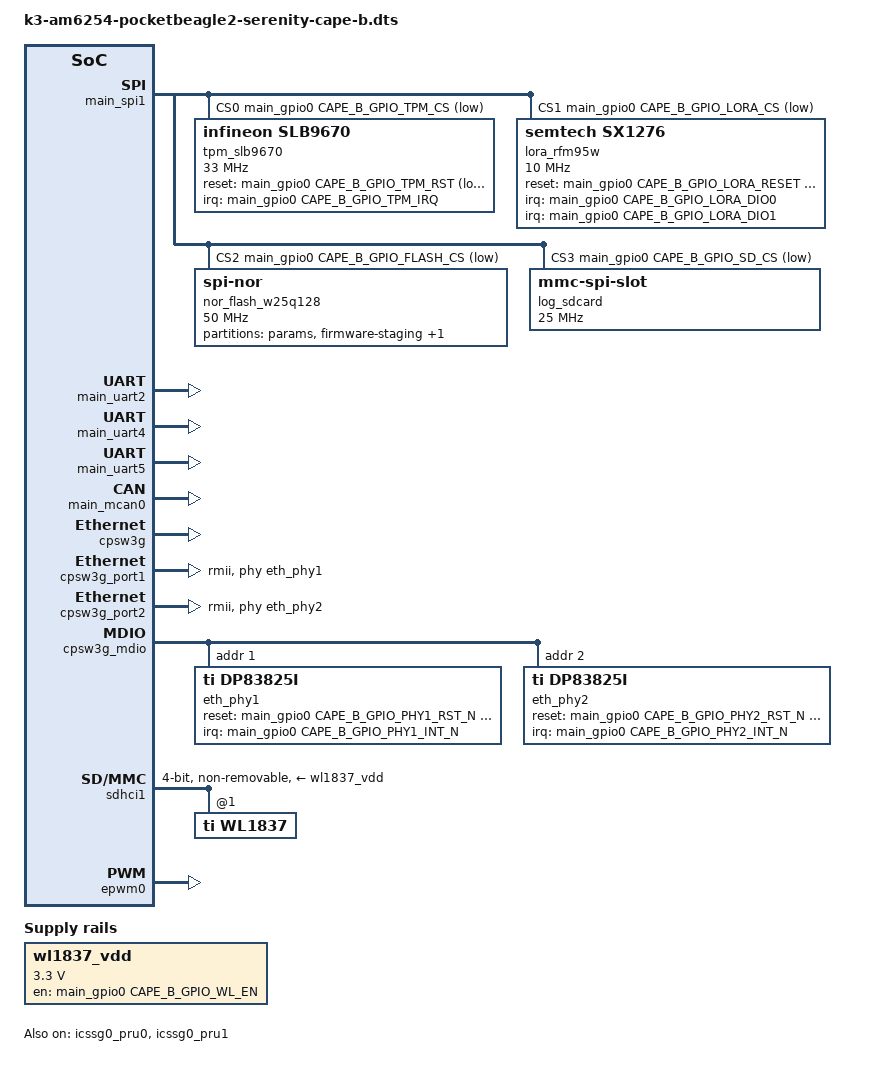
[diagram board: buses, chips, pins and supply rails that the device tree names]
// SPDX-License-Identifier: CC-BY-4.0
/*
 * k3-am6254-pocketbeagle2-serenity-cape-b.dts
 * Device tree overlay — Serenity UAV Cape-B (Comms, Logging & Payload)
 *
 * Author:  Steve Griffing, PE(CSE), CISSP-ISSEP, CPP
 * License: CC BY 4.0 — creativecommons.org/licenses/by/4.0
 *
 * Target:
 *   Board  : PocketBeagle 2 Industrial (DigiKey 2820-100003007-ND)
 *   SoC    : TI AM6254 (quad Cortex-A53 @ 1.4 GHz, dual PRU-ICSS)
 *   OS     : BeagleBone Debian Trixie (Linux ≥ 6.1, dtc 1.7.x)
 *   Cape   : Cape-B — comms + logging + payload, plugs onto P1/P2 headers
 *
 * Build:
 *   dtc -@ -I dts -O dtb \
 *       -o k3-am6254-pocketbeagle2-serenity-cape-b.dtbo \
 *       k3-am6254-pocketbeagle2-serenity-cape-b.dts
 *
 * Install:
 *   sudo cp *.dtbo /boot/firmware/overlays/
 *   Add "fdtoverlays /overlays/k3-am6254-pocketbeagle2-serenity-cape-b.dtbo"
 *   to /boot/firmware/extlinux/extlinux.conf
 *
 * ═══════════════════════════════════════════════════════════════════════════
 * PAD OFFSET VERIFICATION NOTICE
 * ═══════════════════════════════════════════════════════════════════════════
 * AM62X_IOPAD offsets must be cross-checked against BOTH:
 *   (1) TI AM6254 Technical Reference Manual, SPRUJ40, Table 7-1
 *       "MAIN Domain Pad Control Registers"
 *   (2) PocketBeagle 2 Industrial schematic — BeagleBoard.org hardware repo
 *       (maps AM6254 balls to P1/P2 header pins)
 * Offsets tagged [CONFIRMED] are from k3-am625-sk.dtsi, Linux 6.x kernel.
 * Offsets tagged [ESTIMATE] follow the AM62x pad-table pattern and must be
 * verified before committing to PCB fab or first-flight operations.
 * GPIO line numbers (main_gpio0 / main_gpio1) are logical and must be
 * verified against the PocketBeagle 2 expansion header pin map.
 * ═══════════════════════════════════════════════════════════════════════════
 *
 * Cape-B peripheral map:
 *   SPI1      — SLB9670 TPM 2.0, RFM95W LoRa 915 MHz, W25Q128JV NOR flash,
 *               microSD (SPI mode, logging-only non-executable card)
 *   UART2     — RFD900x SiK 915 MHz (hardware CTS/RTS flow control)
 *   UART4     — MAX3485E RS-485 half-duplex (DE / RE# GPIOs)
 *   UART5     — XCVR-49MHZ-1 RCRS 49 MHz AX.25 (PTT_N + TDDS_SYNC GPIOs)
 *   MCAN0     — CAN FD 1/8 Mbps via ATA6561 transceiver (STB# GPIO)
 *   CPSW3G    — 100BASE-TX ring via 2× DP83825I RMII PHY
 *   SDIO      — WL1837MOD 5 GHz 802.11ac/b/g/n + BT5 (4-bit MMC)
 *   EHRPWM0   — Cargo servo / gimbal axis (2 channels)
 *   PRU-ICSS0/PRU0 — MIL-STD-1553B Manchester II codec (1 Mbps)
 *   PRU-ICSS0/PRU1 — Cargo servo PWM ch 2-3 + XCVR TDDS timing
 *
 * External comms links on this node:
 *   Link A: AX.25 49 MHz RCRS    (XCVR-49MHZ-1, UART5, PTT_N, TDDS_SYNC)
 *   Link B: SiK MAVLink 915 MHz  (RFD900x, UART2, CTS/RTS)
 *   Link C: LoRa 915 MHz (OOB)   (RFM95W, SPI1, DIO0-DIO3 IRQs)
 *   Link D: 5 GHz 802.11ac       (WL1837MOD, SDIO)
 *
 * All transmitted frames carry a TPM-bound SHA-256 HMAC (SLB9670, SPI1).
 * The ATF16V8BQL CPLD provides hardware-enforced write-protect to the
 * logging microSD and latching logic for latch sensors.
 *
 * References:
 *   [1] TI AM6254 TRM, SPRUJ40 — pad table, PRU-ICSS, CPSW3G, MCAN
 *   [2] PocketBeagle 2 Industrial schematic, BeagleBoard.org hardware repo
 *   [3] Chepponis & Karn, KISS TNC, ARRL 6th CNF 1987 (AX.25 link)
 *   [4] 47 CFR Part 95 Subpart D (RCRS 49 MHz channel plan)
 *   [5] 47 CFR Part 15 Subpart C (LoRa 915 MHz, unlicensed)
 *   [6] Si5351A/B/C-B Datasheet, Skyworks, Rev 1.4
 *   [7] Infineon SLB9670 TPM 2.0 Datasheet
 *   [8] WL1837MOD (TI WL1837) Integration Guide
 *   [9] MIL-STD-1553B, DoD Interface Standard, 21 Sep 1978
 */

/dts-v1/;
/plugin/;

#include <dt-bindings/gpio/gpio.h>
#include <dt-bindings/interrupt-controller/irq.h>
#include <dt-bindings/pinctrl/k3.h>

/* ───────────────────────────────────────────────────────────────────────────
 * GPIO line assignments on main_gpio0 — VERIFY AGAINST PB2 SCHEMATIC
 * All offsets relative to AM6254 GPIO bank 0 as exposed on P1/P2 headers.
 * ─────────────────────────────────────────────────────────────────────────*/

/* SPI1 chip-selects (GPIO-driven; SPI1 nCS lines not used in hardware). */
#define CAPE_B_GPIO_TPM_CS          10  /* SPI1 CS — SLB9670 TPM 2.0        [ESTIMATE] */
#define CAPE_B_GPIO_LORA_CS         11  /* SPI1 CS — RFM95W LoRa            [ESTIMATE] */
#define CAPE_B_GPIO_FLASH_CS        12  /* SPI1 CS — W25Q128JV NOR flash     [ESTIMATE] */
#define CAPE_B_GPIO_SD_CS           13  /* SPI1 CS — logging microSD         [ESTIMATE] */

/* SLB9670 TPM 2.0 control lines. */
#define CAPE_B_GPIO_TPM_IRQ         14  /* SLB9670 interrupt (active-low)    [ESTIMATE] */
#define CAPE_B_GPIO_TPM_RST         15  /* SLB9670 reset (active-low)        [ESTIMATE] */

/* RFM95W LoRa DIO interrupt lines (DIO0 = TX done / RX done). */
#define CAPE_B_GPIO_LORA_DIO0       16  /* RFM95W DIO0 — TX/RX done         [ESTIMATE] */
#define CAPE_B_GPIO_LORA_DIO1       17  /* RFM95W DIO1 — RX timeout / FHSS  [ESTIMATE] */
#define CAPE_B_GPIO_LORA_DIO2       18  /* RFM95W DIO2 — FHSS change        [ESTIMATE] */
#define CAPE_B_GPIO_LORA_DIO3       19  /* RFM95W DIO3 — CAD done           [ESTIMATE] */
#define CAPE_B_GPIO_LORA_RESET      20  /* RFM95W RESET (active-low)         [ESTIMATE] */

/* XCVR-49MHZ-1 RCRS 49 MHz control lines. */
#define CAPE_B_GPIO_PTT_N           21  /* PTT_N — TX key (active-low)       [ESTIMATE] */
#define CAPE_B_GPIO_TDDS_SYNC       22  /* Si5351A DDS freq sync strobe      [ESTIMATE] */

/* MAX3485E RS-485 direction control. */
#define CAPE_B_GPIO_RS485_DE        23  /* Driver enable (active-high)       [ESTIMATE] */
#define CAPE_B_GPIO_RS485_RE_N      24  /* Receiver enable# (active-low)     [ESTIMATE] */

/* ATA6561 CAN FD transceiver. */
#define CAPE_B_GPIO_CAN_STB_N       25  /* Standby# (active-low, normal=low) [ESTIMATE] */

/* DP83825I RMII PHY reset and interrupt lines. */
#define CAPE_B_GPIO_PHY1_RST_N      26  /* DP83825I #1 reset (active-low)    [ESTIMATE] */
#define CAPE_B_GPIO_PHY1_INT_N      27  /* DP83825I #1 interrupt             [ESTIMATE] */
#define CAPE_B_GPIO_PHY2_RST_N      28  /* DP83825I #2 reset (active-low)    [ESTIMATE] */
#define CAPE_B_GPIO_PHY2_INT_N      29  /* DP83825I #2 interrupt             [ESTIMATE] */

/* MIL-STD-1553B DS26LV31/DS26LV32 output-enable lines. */
#define CAPE_B_GPIO_1553_OE1_N      30  /* DS26LV31 output enable 1# (TX)    [ESTIMATE] */
#define CAPE_B_GPIO_1553_OE2_N      31  /* DS26LV32 output enable 2# (RX)    [ESTIMATE] */

/* WL1837MOD WiFi enable. */
#define CAPE_B_GPIO_WL_EN           32  /* WL1837MOD WL_EN (active-high)     [ESTIMATE] */

/* DRV8833 dual H-bridge (cargo mechanism / latch actuator). */
#define CAPE_B_GPIO_DRV_AIN1        33  /* DRV8833 AIN1                      [ESTIMATE] */
#define CAPE_B_GPIO_DRV_AIN2        34  /* DRV8833 AIN2                      [ESTIMATE] */
#define CAPE_B_GPIO_DRV_BIN1        35  /* DRV8833 BIN1                      [ESTIMATE] */
#define CAPE_B_GPIO_DRV_BIN2        36  /* DRV8833 BIN2                      [ESTIMATE] */
#define CAPE_B_GPIO_DRV_STBY        37  /* DRV8833 STBY (active-high)        [ESTIMATE] */
#define CAPE_B_GPIO_DRV_FAULT_N     38  /* DRV8833 /FAULT (active-low)       [ESTIMATE] */

/* HX711 24-bit ADC (cargo load cell). */
#define CAPE_B_GPIO_HX711_DOUT      39  /* HX711 DOUT (serial data out)      [ESTIMATE] */
#define CAPE_B_GPIO_HX711_SCK       40  /* HX711 PD_SCK (clock / power-down) [ESTIMATE] */

/* ATF16V8BQL CPLD (write-protect logic + latch control). */
#define CAPE_B_GPIO_CPLD_I1         41  /* CPLD input 1                      [ESTIMATE] */
#define CAPE_B_GPIO_CPLD_I2         42  /* CPLD input 2                      [ESTIMATE] */
#define CAPE_B_GPIO_CPLD_I3         43  /* CPLD input 3                      [ESTIMATE] */
#define CAPE_B_GPIO_CPLD_I4         44  /* CPLD input 4                      [ESTIMATE] */
#define CAPE_B_GPIO_CPLD_I5         45  /* CPLD input 5                      [ESTIMATE] */
#define CAPE_B_GPIO_CPLD_I6         46  /* CPLD input 6                      [ESTIMATE] */
#define CAPE_B_GPIO_CPLD_O1         47  /* CPLD output 1 (read-only from SoC)[ESTIMATE] */
#define CAPE_B_GPIO_CPLD_O2         48  /* CPLD output 2 (read-only from SoC)[ESTIMATE] */
#define CAPE_B_GPIO_CPLD_O3         49  /* CPLD output 3                     [ESTIMATE] */
#define CAPE_B_GPIO_CPLD_O4         50  /* CPLD output 4                     [ESTIMATE] */
#define CAPE_B_GPIO_CPLD_OE_N       51  /* CPLD /OE (output enable)          [ESTIMATE] */

/* Mechanical latch / payload bay position sensors. */
#define CAPE_B_GPIO_LATCH_STATUS1   52  /* Latch 1 closed sensor             [ESTIMATE] */
#define CAPE_B_GPIO_LATCH_STATUS2   53  /* Latch 2 closed sensor             [ESTIMATE] */

/* ───────────────────────────────────────────────────────────────────────────
 * Section 1 — Pin control configurations
 * ─────────────────────────────────────────────────────────────────────────*/
&main_pmx0 {

    /* SPI1: SLB9670 TPM, RFM95W LoRa, W25Q128JV NOR flash, logging microSD.
     * All four chip-selects are GPIO-controlled for independent sequencing.
     * Only the four-wire bus (CLK, D0/MOSI, D1/MISO) pins appear here.    */
    cape_b_spi1_pins: cape-b-spi1-pins {
        pinctrl-single,pins = <
            /* [ESTIMATE — SPI1 pad area, verify in SPRUJ40 Table 7-1] */
            AM62X_IOPAD(0x01e0, PIN_INPUT,  0) /* SPI1_CLK                   */
            AM62X_IOPAD(0x01e4, PIN_OUTPUT, 0) /* SPI1_D0  (MOSI)            */
            AM62X_IOPAD(0x01e8, PIN_INPUT,  0) /* SPI1_D1  (MISO)            */
        >;
    };

    /* UART2: RFD900x SiK 915 MHz MAVLink telemetry.
     * Full hardware flow control (CTS/RTS) is required by RFD900x at
     * 57600-921600 baud; both flow-control pins must be muxed.             */
    cape_b_uart2_pins: cape-b-uart2-pins {
        pinctrl-single,pins = <
            /* [ESTIMATE — UART2 pad area, mux mode 4 or 5] */
            AM62X_IOPAD(0x0060, PIN_INPUT,  4) /* UART2_RXD                  */
            AM62X_IOPAD(0x0064, PIN_OUTPUT, 4) /* UART2_TXD                  */
            AM62X_IOPAD(0x0068, PIN_INPUT,  4) /* UART2_CTSn                 */
            AM62X_IOPAD(0x006c, PIN_OUTPUT, 4) /* UART2_RTSn                 */
        >;
    };

    /* UART4: RS-485 half-duplex via MAX3485E.
     * Direction toggled by DE / RE# GPIOs or TIOCSRS485 kernel support.   */
    cape_b_uart4_pins: cape-b-uart4-pins {
        pinctrl-single,pins = <
            /* [ESTIMATE — GPMC0_AD area, mux4 — same offsets as Cape-A] */
            AM62X_IOPAD(0x0058, PIN_INPUT,  4) /* UART4_RXD                  */
            AM62X_IOPAD(0x005c, PIN_OUTPUT, 4) /* UART4_TXD                  */
        >;
    };

    /* UART5: XCVR-49MHZ-1 RCRS 49 MHz AX.25 link.
     * 57600 baud 8N1; PTT_N and TDDS_SYNC are GPIO (not UART signals).    */
    cape_b_uart5_pins: cape-b-uart5-pins {
        pinctrl-single,pins = <
            /* [ESTIMATE — GPMC0_AD area, mux4] */
            AM62X_IOPAD(0x0070, PIN_INPUT,  4) /* UART5_RXD                  */
            AM62X_IOPAD(0x0074, PIN_OUTPUT, 4) /* UART5_TXD                  */
        >;
    };

    /* MCAN0: CAN FD via ATA6561 transceiver.                              */
    cape_b_mcan0_pins: cape-b-mcan0-pins {
        pinctrl-single,pins = <
            /* [CONFIRMED — k3-am625-sk.dtsi] */
            AM62X_IOPAD(0x01d8, PIN_OUTPUT, 0) /* (C15) MCAN0_TX             */
            AM62X_IOPAD(0x01dc, PIN_INPUT,  0) /* (E15) MCAN0_RX             */
        >;
    };

    /* CPSW3G MDIO: shared MDC/MDIO bus for both DP83825I PHYs.           */
    cape_b_mdio_pins: cape-b-mdio-pins {
        pinctrl-single,pins = <
            /* [ESTIMATE — dedicated MDIO pad area] */
            AM62X_IOPAD(0x0160, PIN_OUTPUT,       0) /* MDC                   */
            AM62X_IOPAD(0x0164, PIN_INPUT_PULLUP, 0) /* MDIO                  */
        >;
    };

    /* CPSW3G Port 1 — RMII (DP83825I #1, uplink ring segment).           */
    cape_b_rmii1_pins: cape-b-rmii1-pins {
        pinctrl-single,pins = <
            /* [ESTIMATE — RGMII1 pad area, mux4 for RMII] */
            AM62X_IOPAD(0x0120, PIN_INPUT,  4) /* RMII1_RXD0                 */
            AM62X_IOPAD(0x0124, PIN_INPUT,  4) /* RMII1_RXD1                 */
            AM62X_IOPAD(0x0128, PIN_INPUT,  4) /* RMII1_RX_ER                */
            AM62X_IOPAD(0x012c, PIN_INPUT,  4) /* RMII1_CRS_DV               */
            AM62X_IOPAD(0x0130, PIN_OUTPUT, 4) /* RMII1_TXD0                 */
            AM62X_IOPAD(0x0134, PIN_OUTPUT, 4) /* RMII1_TXD1                 */
            AM62X_IOPAD(0x0138, PIN_OUTPUT, 4) /* RMII1_TX_EN                */
            AM62X_IOPAD(0x013c, PIN_INPUT,  4) /* RMII1_REF_CLK (50 MHz in)  */
        >;
    };

    /* CPSW3G Port 2 — RMII (DP83825I #2, downlink ring segment).         */
    cape_b_rmii2_pins: cape-b-rmii2-pins {
        pinctrl-single,pins = <
            /* [ESTIMATE — RGMII2 pad area, mux4 for RMII] */
            AM62X_IOPAD(0x0148, PIN_INPUT,  4) /* RMII2_RXD0                 */
            AM62X_IOPAD(0x014c, PIN_INPUT,  4) /* RMII2_RXD1                 */
            AM62X_IOPAD(0x0150, PIN_INPUT,  4) /* RMII2_RX_ER                */
            AM62X_IOPAD(0x0154, PIN_INPUT,  4) /* RMII2_CRS_DV               */
            AM62X_IOPAD(0x0158, PIN_OUTPUT, 4) /* RMII2_TXD0                 */
            AM62X_IOPAD(0x015c, PIN_OUTPUT, 4) /* RMII2_TXD1                 */
            AM62X_IOPAD(0x0168, PIN_OUTPUT, 4) /* RMII2_TX_EN                */
            AM62X_IOPAD(0x016c, PIN_INPUT,  4) /* RMII2_REF_CLK              */
        >;
    };

    /* SDIO: WL1837MOD 5 GHz 802.11ac + BT5 in 4-bit MMC mode.
     * WL1837MOD requires 50 MHz SDIO clock and 4 data lines.              */
    cape_b_sdio_pins: cape-b-sdio-pins {
        pinctrl-single,pins = <
            /* [ESTIMATE — MMC1 pad area] */
            AM62X_IOPAD(0x0220, PIN_INPUT_PULLUP, 0) /* MMC1_CLK              */
            AM62X_IOPAD(0x0224, PIN_INPUT_PULLUP, 0) /* MMC1_CMD              */
            AM62X_IOPAD(0x0228, PIN_INPUT_PULLUP, 0) /* MMC1_DAT0             */
            AM62X_IOPAD(0x022c, PIN_INPUT_PULLUP, 0) /* MMC1_DAT1             */
            AM62X_IOPAD(0x0230, PIN_INPUT_PULLUP, 0) /* MMC1_DAT2             */
            AM62X_IOPAD(0x0234, PIN_INPUT_PULLUP, 0) /* MMC1_DAT3             */
        >;
    };

    /* EHRPWM0: cargo servo / gimbal axis channels 0 and 1.               */
    cape_b_ehrpwm0_pins: cape-b-ehrpwm0-pins {
        pinctrl-single,pins = <
            /* [ESTIMATE] */
            AM62X_IOPAD(0x01a0, PIN_OUTPUT, 6) /* EHRPWM0_A (CARGO_SERVO0)   */
            AM62X_IOPAD(0x01a4, PIN_OUTPUT, 6) /* EHRPWM0_B (CARGO_SERVO1)   */
        >;
    };

    /* PRU-ICSS0 PRU0: MIL-STD-1553B Manchester II codec pins.
     * DS26LV31 TX driven by GPO0/GPO1; DS26LV32 RX read on GPI2/GPI3.   */
    cape_b_pru0_1553_pins: cape-b-pru0-1553-pins {
        pinctrl-single,pins = <
            /* [ESTIMATE — PRG0 GPIO pad area] */
            AM62X_IOPAD(0x00d0, PIN_OUTPUT, 5) /* PRG0_PRU0_GPO0 → 1553_TX_P */
            AM62X_IOPAD(0x00d4, PIN_OUTPUT, 5) /* PRG0_PRU0_GPO1 → 1553_TX_N */
            AM62X_IOPAD(0x00d8, PIN_INPUT,  5) /* PRG0_PRU0_GPI2 ← 1553_RX_P */
            AM62X_IOPAD(0x00dc, PIN_INPUT,  5) /* PRG0_PRU0_GPI3 ← 1553_RX_N */
        >;
    };

    /* PRU-ICSS0 PRU1: cargo servo PWM ch 2-3 + XCVR TDDS_SYNC output.   */
    cape_b_pru1_cargo_pins: cape-b-pru1-cargo-pins {
        pinctrl-single,pins = <
            /* [ESTIMATE] */
            AM62X_IOPAD(0x00e0, PIN_OUTPUT, 5) /* PRG0_PRU1_GPO0 → SERVO2    */
            AM62X_IOPAD(0x00e4, PIN_OUTPUT, 5) /* PRG0_PRU1_GPO1 → SERVO3    */
            AM62X_IOPAD(0x00e8, PIN_OUTPUT, 5) /* PRG0_PRU1_GPO2 → TDDS_SYNC */
        >;
    };
};

/* ───────────────────────────────────────────────────────────────────────────
 * Section 2 — SPI1: TPM 2.0, LoRa 915 MHz, NOR flash, logging microSD
 *
 * All four devices share the SPI1 bus at 3.3 V LVTTL.  Individual chip-
 * selects are GPIO-driven to allow per-device power sequencing and to avoid
 * glitching inactive devices during bus transactions.
 * ─────────────────────────────────────────────────────────────────────────*/
&main_spi1 {
    status = "okay";
    pinctrl-names = "default";
    pinctrl-0 = <&cape_b_spi1_pins>;
    cs-gpios = <&main_gpio0 CAPE_B_GPIO_TPM_CS   GPIO_ACTIVE_LOW>,
               <&main_gpio0 CAPE_B_GPIO_LORA_CS  GPIO_ACTIVE_LOW>,
               <&main_gpio0 CAPE_B_GPIO_FLASH_CS GPIO_ACTIVE_LOW>,
               <&main_gpio0 CAPE_B_GPIO_SD_CS    GPIO_ACTIVE_LOW>;
    #address-cells = <1>;
    #size-cells = <0>;

    /* SLB9670 TPM 2.0 — Infineon, SPI mode 0, 33 MHz max.
     * Provides TPM-bound SHA-256 HMAC keys for all outbound radio frames.
     * PCR measurements seeded from U-Boot measured-boot chain.
     * Reference: Infineon SLB9670 datasheet, TPM 2.0 Part 3 commands.    */
    tpm_slb9670: tpm@0 {
        compatible = "infineon,slb9670";
        reg = <0>;                           /* CS index 0 (TPM_CS GPIO)    */
        spi-max-frequency = <33000000>;
        interrupt-parent = <&main_gpio0>;
        interrupts = <CAPE_B_GPIO_TPM_IRQ IRQ_TYPE_LEVEL_LOW>;
        reset-gpios = <&main_gpio0 CAPE_B_GPIO_TPM_RST GPIO_ACTIVE_LOW>;
    };

    /* RFM95W LoRa 915 MHz — Semtech SX1276 core, SPI mode 0, 10 MHz max.
     * Operates in 47 CFR Part 15 Subpart C unlicensed band (902-928 MHz).
     * DIO0-DIO3 provide interrupt-driven TX-done, RX-done, CCA events.
     * Used for out-of-band telemetry and command backup link.             */
    lora_rfm95w: lora@1 {
        compatible = "semtech,sx1276";
        reg = <1>;                           /* CS index 1 (LORA_CS GPIO)   */
        spi-max-frequency = <10000000>;
        reset-gpios = <&main_gpio0 CAPE_B_GPIO_LORA_RESET GPIO_ACTIVE_LOW>;
        /*
         * DIO0 = TX done / RX done (primary IRQ).
         * DIO1 = RX timeout / FHSS channel change.
         * DIO2 = FHSS channel change.
         * DIO3 = CAD (channel activity detection) done.
         * All four interrupts wired; driver selects active ones per mode.
         */
        interrupts-extended =
            <&main_gpio0 CAPE_B_GPIO_LORA_DIO0 IRQ_TYPE_EDGE_RISING>,
            <&main_gpio0 CAPE_B_GPIO_LORA_DIO1 IRQ_TYPE_EDGE_RISING>,
            <&main_gpio0 CAPE_B_GPIO_LORA_DIO2 IRQ_TYPE_EDGE_RISING>,
            <&main_gpio0 CAPE_B_GPIO_LORA_DIO3 IRQ_TYPE_EDGE_RISING>;
        interrupt-names = "dio0", "dio1", "dio2", "dio3";
    };

    /* W25Q128JV NOR Flash — Winbond, 128 Mbit (16 MiB), SPI mode 0.
     * Used for persistent parameter storage and firmware staging.
     * Mapped as MTD partition; write-protected by ATF16V8BQL CPLD WP line.
     * Reference: W25Q128JV datasheet, Winbond, Rev L.                    */
    nor_flash_w25q128: flash@2 {
        compatible = "jedec,spi-nor";
        reg = <2>;                           /* CS index 2 (FLASH_CS GPIO)  */
        spi-max-frequency = <50000000>;
        /* 104 MHz clock supported by W25Q128JV but limited to 50 MHz
         * for noise margin on the Cape-B flex harness.                   */

        partitions {
            compatible = "fixed-partitions";
            #address-cells = <1>;
            #size-cells = <1>;

            /* Bootloader parameters backup: 128 KiB at start of flash.   */
            partition@0 {
                label = "params";
                reg = <0x000000 0x020000>;
            };

            /* Firmware staging area: 8 MiB.                              */
            partition@20000 {
                label = "firmware-staging";
                reg = <0x020000 0x800000>;
            };

            /* Remaining space: key material backup (encrypted by TPM).   */
            partition@820000 {
                label = "key-backup";
                reg = <0x820000 0x7e0000>;
            };
        };
    };

    /* Logging microSD in SPI mode.
     * Hardware write-protect enforced by ATF16V8BQL CPLD — the CPLD
     * asserts the microSD /WP line and prevents the SoC from de-asserting
     * it without the correct CPLD input sequence (anti-tamper logging).
     * Formatted ext4; mounted noexec,nosuid,nodev.                        */
    log_sdcard: spi-mmc@3 {
        compatible = "mmc-spi-slot";
        reg = <3>;                           /* CS index 3 (SD_CS GPIO)     */
        spi-max-frequency = <25000000>;
        voltage-ranges = <3300 3300>;
        /* gpios and other properties set by kernel mmc-spi-slot driver.  */
    };
};

/* ───────────────────────────────────────────────────────────────────────────
 * Section 3 — UARTs
 * ─────────────────────────────────────────────────────────────────────────*/

/* UART2: RFD900x SiK 915 MHz MAVLink telemetry.
 * Hardware flow control (CTS/RTS) is required to prevent packet loss at
 * high data rates (115200-921600 baud).  The serenity-cn daemon opens this
 * port with CRTSCTS set; RFD900x drives RTS low when ready to receive.    */
&main_uart2 {
    status = "okay";
    pinctrl-names = "default";
    pinctrl-0 = <&cape_b_uart2_pins>;
    /* uart-has-rtscts informs the driver that hardware flow control pins
     * are connected.  Flow control is enabled by the daemon at open time. */
    uart-has-rtscts;
};

/* UART4: RS-485 half-duplex via MAX3485E.
 * Direction is toggled by DE and RE# GPIOs (or TIOCSRS485 if supported).
 * Same configuration as Cape-A UART4 for inter-node RS-485 bus sharing.  */
&main_uart4 {
    status = "okay";
    pinctrl-names = "default";
    pinctrl-0 = <&cape_b_uart4_pins>;
    linux,rs485-enabled-at-boot-time;
    rs485-rts-active-high;                   /* DE asserted high = TX       */
    rs485-rx-during-tx;
};

/* UART5: XCVR-49MHZ-1 RCRS 49 MHz AX.25 link.
 * 57600 baud 8N1.  PTT_N (CAPE_B_GPIO_PTT_N) and TDDS_SYNC
 * (CAPE_B_GPIO_TDDS_SYNC) are managed by the serenity-cn daemon via
 * libgpiod 2.x; they are not modelled as UART modem control lines.
 *
 * PTT sequencing: assert PTT_N ≥ 7 ms before first TX bit (5 ms required
 * by 47 CFR 95.639; 2 ms margin added).  Release PTT_N after TX tail.
 * Reference: serenity/firmware/cn/src/xcvr_kiss.c, xcvr_kiss_transmit().  */
&main_uart5 {
    status = "okay";
    pinctrl-names = "default";
    pinctrl-0 = <&cape_b_uart5_pins>;
};

/* ───────────────────────────────────────────────────────────────────────────
 * Section 4 — CAN FD (MCAN0 + ATA6561 transceiver)
 * Same physical CAN FD bus as Cape-A; each node bridges CAN FD ↔ 1553 ↔
 * Ethernet to provide the redundant inter-node bus topology required by
 * CLAUDE.md §"Onboard Communications".
 * ─────────────────────────────────────────────────────────────────────────*/
&main_mcan0 {
    status = "okay";
    pinctrl-names = "default";
    pinctrl-0 = <&cape_b_mcan0_pins>;
    /* ATA6561 STB# is driven low (normal mode) by serenity-cn at startup.
     * Standby mode (STB# high) is entered on watchdog timeout.           */

    can-transceiver {
        max-bitrate = <8000000>;             /* 8 Mbps FD data rate max     */
    };
};

/* ───────────────────────────────────────────────────────────────────────────
 * Section 5 — Ethernet: CPSW3G + 2× DP83825I RMII PHY
 * 8-node RSTP ring: CN1→FC1→CN2→FC2→CN3→FC3→CN4→FC4→(back to CN1).
 * Each CN node connects two adjacent ring segments via its two PHYs.
 * ─────────────────────────────────────────────────────────────────────────*/
&cpsw3g {
    status = "okay";
};

&cpsw3g_port1 {
    status = "okay";
    pinctrl-names = "default";
    pinctrl-0 = <&cape_b_rmii1_pins>;
    phy-handle = <&eth_phy1>;
    phy-mode = "rmii";
    ti,mac-only;
};

&cpsw3g_port2 {
    status = "okay";
    pinctrl-names = "default";
    pinctrl-0 = <&cape_b_rmii2_pins>;
    phy-handle = <&eth_phy2>;
    phy-mode = "rmii";
    ti,mac-only;
};

&cpsw3g_mdio {
    status = "okay";
    pinctrl-names = "default";
    pinctrl-0 = <&cape_b_mdio_pins>;
    clock-frequency = <1000000>;
    #address-cells = <1>;
    #size-cells = <0>;

    /* DP83825I RMII PHY #1 — MDIO address 1 (PHYAD strap = 0b01).
     * VERIFY strap resistors on Cape-B schematic for PHYAD[1:0].         */
    eth_phy1: ethernet-phy@1 {
        compatible = "ti,dp83825i", "ethernet-phy-ieee802.3-c22";
        reg = <1>;
        reset-gpios = <&main_gpio0 CAPE_B_GPIO_PHY1_RST_N GPIO_ACTIVE_LOW>;
        reset-assert-us   = <25>;
        reset-deassert-us = <2000>;
        interrupt-parent = <&main_gpio0>;
        interrupts = <CAPE_B_GPIO_PHY1_INT_N IRQ_TYPE_EDGE_FALLING>;
    };

    /* DP83825I RMII PHY #2 — MDIO address 2 (PHYAD strap = 0b10).       */
    eth_phy2: ethernet-phy@2 {
        compatible = "ti,dp83825i", "ethernet-phy-ieee802.3-c22";
        reg = <2>;
        reset-gpios = <&main_gpio0 CAPE_B_GPIO_PHY2_RST_N GPIO_ACTIVE_LOW>;
        reset-assert-us   = <25>;
        reset-deassert-us = <2000>;
        interrupt-parent = <&main_gpio0>;
        interrupts = <CAPE_B_GPIO_PHY2_INT_N IRQ_TYPE_EDGE_FALLING>;
    };
};

/* ───────────────────────────────────────────────────────────────────────────
 * Section 6 — SDIO: WL1837MOD 802.11ac + Bluetooth 5.0
 *
 * The WL1837MOD (TI WiLink 8 family, SoC WL1837) provides:
 *   - 802.11a/b/g/n/ac 2.4/5 GHz dual-band WiFi (SDIO 4-bit, 50 MHz)
 *   - Bluetooth 5.0 + BLE (UART, separate node in DT)
 *
 * The module is connected to MMC1 (not the eMMC MMC0).
 * WL_EN GPIO is toggled by the regulator fixed-regulator node below.
 *
 * Reference: WL1837MOD Integration Guide, SWRU516, Texas Instruments.
 * ─────────────────────────────────────────────────────────────────────────*/

/* Fixed regulator stub — enables WL1837MOD power via WL_EN GPIO.
 * This node does not belong to a named kernel bus; it is placed here
 * as a soc-level overlay fragment.                                        */
/ {
    fragment@100 {
        target-path = "/";

        __overlay__ {
            wl1837_vdd: regulator-wl1837 {
                compatible = "regulator-fixed";
                regulator-name = "wl1837-vdd";
                regulator-min-microvolt = <3300000>;
                regulator-max-microvolt = <3300000>;
                gpio = <&main_gpio0 CAPE_B_GPIO_WL_EN GPIO_ACTIVE_HIGH>;
                enable-active-high;
                startup-delay-us = <70000>;  /* WL1837 POR stabilise time  */
            };
        };
    };
};

&sdhci1 {
    /* MMC1 = SDIO port for WL1837MOD (NOT the logging microSD).
     * The logging microSD is on SPI1 CS3 (spi-mmc-slot, Section 2).      */
    status = "okay";
    pinctrl-names = "default";
    pinctrl-0 = <&cape_b_sdio_pins>;
    vmmc-supply = <&wl1837_vdd>;
    bus-width = <4>;
    cap-power-off-card;
    keep-power-in-suspend;
    /* non-removable: module is soldered, not a slot.                      */
    non-removable;

    wl1837: wifi@1 {
        compatible = "ti,wl1837";
        reg = <1>;
    };
};

/* ───────────────────────────────────────────────────────────────────────────
 * Section 7 — EHRPWM0: cargo servo / gimbal axis (channels 0 and 1)
 *
 * 50 Hz standard RC servo timing (1000-2000 µs pulse, 20 ms period).
 * Channels 2-3 are produced by PRU1 (see Section 8).
 * ─────────────────────────────────────────────────────────────────────────*/
&epwm0 {
    status = "okay";
    pinctrl-names = "default";
    pinctrl-0 = <&cape_b_ehrpwm0_pins>;
};

/* ───────────────────────────────────────────────────────────────────────────
 * Section 8 — PRU-ICSS0: MIL-STD-1553B (PRU0) and cargo/TDDS (PRU1)
 *
 * PRU0 firmware: serenity-pru0-1553.out
 *   Same MIL-STD-1553B Manchester II codec as Cape-A PRU0.
 *   On CN nodes this PRU runs exclusively as Remote Terminal (RT).
 *   BC election happens on the CAN FD heartbeat bus; CN nodes do not
 *   participate in BC election.
 *   DS26LV31 TX: PRG0_PRU0_GPO0 (TX_P), GPO1 (TX_N).
 *   DS26LV32 RX: PRG0_PRU0_GPI2 (RX_P), GPI3 (RX_N).
 *   DS26LV31/32 OE#: main_gpio0 CAPE_B_GPIO_1553_OE1_N / OE2_N.
 *   Coupling transformer: PE-68515, 1:1.41, 78 Ω stub resistors.
 *
 * PRU1 firmware: serenity-pru1-cargo.out
 *   Two 50 Hz servo PWM channels (SERVO2, SERVO3) for cargo bay door
 *   actuators with 1 µs resolution.
 *   One TDDS_SYNC output line: generates a 10 ms strobe to the Si5351A
 *   DDS after each PTT_N assert, enabling accurate channel frequency
 *   lock before the first TX bit per 47 CFR 95.629(b)(1).
 *
 * Firmware binaries installed to /lib/firmware/serenity/ on the target.
 * ─────────────────────────────────────────────────────────────────────────*/
&icssg0_pru0 {
    status = "okay";
    pinctrl-names = "default";
    pinctrl-0 = <&cape_b_pru0_1553_pins>;
    firmware-name = "serenity/pru0-mil1553.out";
};

&icssg0_pru1 {
    status = "okay";
    pinctrl-names = "default";
    pinctrl-0 = <&cape_b_pru1_cargo_pins>;
    firmware-name = "serenity/pru1-cargo-servo.out";
};
